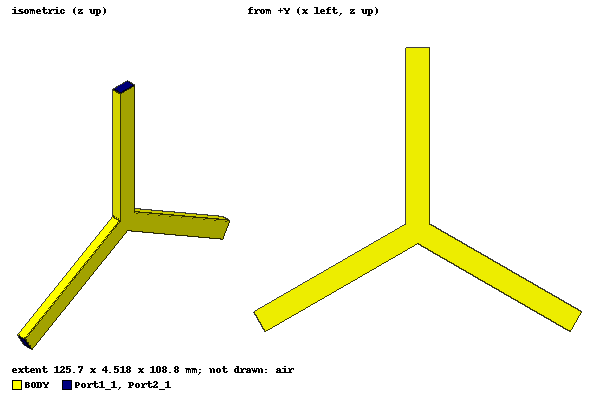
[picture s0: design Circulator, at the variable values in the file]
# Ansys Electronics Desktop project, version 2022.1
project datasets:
  $Electrical_conductivity_with_temperature_239: units cel, : (-270.1, 100.326) (-253.3, 64.1874) (-236.5, 20.6133) (-219.6, 8.73735) (-200.1, 5.28485) (-130.1, 2.21031) (-60.15, 1.41217) (9.85, 1.0384) (79.85, 0.817151) (149.9, 0.668618) (219.9, 0.565176) (289.9, 0.487594) (359.9, 0.427032) (429.9, 0.378184) (499.9, 0.338177) (569.9, 0.304581) (639.9, 0.276068) (709.9, 0.251312) (779.9, 0.229872) (849.9, 0.21093) (919.9, 0.194198) (989.9, 0.179278) (1060, 0.165884)
  $Thermal_conductivity_with_temperature_239: units cel, : (-270.1, 5.10075) (-260.1, 8.94205) (-224.3, 1.38035) (-178.4, 1.03148) (-132.6, 1.02519) (-86.7, 1.01858) (-40.84, 1.01102) (5.022, 1.00315) (50.88, 0.994646) (96.75, 0.98583) (142.6, 0.976699) (188.5, 0.967253) (234.3, 0.957493) (280.2, 0.947732) (326.1, 0.937971) (371.9, 0.927896) (417.8, 0.91782) (463.6, 0.907745) (509.5, 0.897669) (555.4, 0.887593) (601.2, 0.877518) (647.1, 0.867127) (693, 0.857052) (738.8, 0.846661) (784.7, 0.836271) (830.5, 0.825566) (876.4, 0.81486) (922.3, 0.80384) (968.1, 0.792505) (1014, 0.780855) (1060, 0.768891)
  $Specific_heat_capacity_with_temperature_239: units cel, : (19.85, 0.999784) (135.4, 1.01141) (251, 1.03311) (366.5, 1.05791) (482.1, 1.08504) (597.6, 1.11216) (713.2, 1.14084) (828.7, 1.16874) (944.3, 1.19742) (1060, 1.22609)
  $Tensile_modulus_with_temperature_239: units cel, : (-270.1, 1.08) (-129, 1.03922) (12.07, 1.00188) (153.2, 0.975219) (294.3, 0.938928) (435.4, 0.891949) (576.5, 0.834544) (717.6, 0.766583) (858.7, 0.688064) (999.9, 0.598856)
  $Thermal_expansion_coefficient_with_temperature_239: units cel, : (-270.1, 0.80543) (-198.7, 0.932603) (-127.3, 0.970683) (-55.86, 0.985053) (15.56, 0.998704) (86.99, 1.01307) (158.4, 1.02744) (229.9, 1.04181) (301.3, 1.05547) (372.7, 1.06984) (444.1, 1.08421) (515.6, 1.09857) (587, 1.11223) (658.4, 1.1266) (729.9, 1.14097)
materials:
  vacuum: permittivity=1
  pec: conductivity=1e+30
  ferrite: permittivity=12.9 permeability{HUnit=A_per_meter BUnit=tesla curve } conductivity=0.01 saturation_mag=0.35tesla delta_H=4 delta_H_freq=22.5GHz
  Rogers RO3006 (tm): permittivity=6.15 dielectric_loss_tangent=0.0025
  rubber_hard: permittivity=3 conductivity=1e-15
  Rogers RO4003 (tm): permittivity=3.55 dielectric_loss_tangent=0.0027
  Rogers RT/duroid 5880 (tm): permittivity=2.2 dielectric_loss_tangent=0.0009
  TDK_PC95_60cel_BH: core_loss_curve{50kHz (0, 0) (0.049862966, 4.1005345) (0.060258577, 6.8639779) (0.069693025, 9.604843) (0.079288168, 12.85137) (0.089957123, 17.195253) (0.10011968, 22.497801) (0.13429265, 48.181396) (0.19992957, 126.23138) (0.24094943, 202.0447) (0.30010796, 361.71437)} core_loss_curve{100kHz (0, 0) (0.05, 11.750028) (0.059928731, 18.390411) (0.069311536, 26.316823) (0.079506068, 36.825433) (0.090204344, 49.272773) (0.10039483, 64.467157) (0.12000091, 98.665069) (0.15876613, 193.19337) (0.19938163, 330.71604) (0.23897376, 506.15107) (0.29928546, 906.14655)} core_loss_curve{200kHz (0, 0) (0.05, 31.481432) (0.060258577, 50.388871) (0.069693025, 68.947957) (0.079724568, 96.479667) (0.089957123, 129.0907) (0.10067074, 172.72456) (0.13765098, 386.85538) (0.20047902, 947.6625) (0.2490168, 1586.3138) (0.29928546, 2482.7994)} core_loss_curve{300kHz (0, 0) (0.049862966, 63.039229) (0.060093428, 100.89997) (0.069502019, 144.38866) (0.079724568, 197.56947) (0.08971058, 264.3498) (0.10039483, 345.8681) (0.12712013, 605.4819) (0.15446813, 991.08054) (0.19883519, 1897.6238) (0.23963051, 2904.2568) (0.30093272, 4861.5015)} permeability{HUnit=A_per_meter BUnit=tesla curve (0, 0) (17.20430108, 0.079976243) (32.49701314, 0.199539595) (49.70131422, 0.297790055) (64.09402628, 0.349834622) (76.46356033, 0.383911602) (89.84468339, 0.412285451) (107.0489845, 0.436556169) (135.7228196, 0.45174954) (168.2198327, 0.462891344) (202.6284349, 0.471007366) (250.4181601, 0.478084715) (298.2078853, 0.481123389) (498.9247312, 0.486187845) (1282.676225, 0.491252302) (2560, 0.4934)} conductivity=0.167 saturation_mag=0.48tesla core_loss_type="Power Ferrite" core_loss_cm=0.59673882 core_loss_x=1.4941961 core_loss_y=2.4413048 mass_density=4900
  Gold, pure: thermal_modifier{Property=conductivity free_form_value=pwl($Electrical_conductivity_with_temperature_239,Temp)} conductivity=45242600

design Circulator (HFSS, DrivenModal, model units mm)
options: Save_Adaptive_support_files
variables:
  a = 8.636mm
  b = 4.318mm
  t = 0.2mm
  h = 7cm
  r0 = 1.3mm
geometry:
  BODY [Gold, pure] = box(corner=(-a/2-t/2, -b/2-t/2, 0mm), size=(a+t, b+t, h))
  Box4 = box(corner=(-a/2, -b/2, 0mm), size=(a, b, h))
  Box4_1 = Box4.copy()
  BODY.subtract(Box4_1)
  BODY.rotate(axis=Y, angle=240deg)
  Port2 = box(corner=(-a/2-t/2, -b/2-t/2, 0mm), size=(a+t, b+t, h))
  Box4_2 = Box4.copy()
  Port2.subtract(Box4_2)
  Port2.rotate(axis=Y, angle=120deg)
  Port1 = box(corner=(-a/2-t/2, -b/2-t/2, 0mm), size=(a+t, b+t, h))
  Port1.subtract(Box4)
  BODY.unite(Port2, Port1)
  air [vacuum] = box(corner=(-a/2, -b/2, 0mm), size=(a, b, h))
  Box6 = box(corner=(-a/2, -b/2, 0mm), size=(a, b, h))
  Box6.rotate(axis=Y, angle=240deg)
  Box7 = box(corner=(-a/2, -b/2, 0mm), size=(a, b, h))
  Box7.rotate(axis=Y, angle=120deg)
  air.unite(Box6, Box7)
  air_1 = air.copy()
  BODY.subtract(air_1)
  FERRITE [ferrite] = cylinder(axis=Y, base_centre=(0mm, -b/2, 0mm), radius=1.3mm, height=4.318mm)
  Cylinder1_1 = FERRITE.copy()
  air.subtract(Cylinder1_1)
  Port1_1 = rectangle(corner=(-a/2, -b/2, h), x_size=a, y_size=b)
  Port2_1 = rectangle(corner=(-a/2, -b/2, h), x_size=a, y_size=b)
  Port2_1.rotate(axis=Y, angle=120deg)
  Port3_1 = rectangle(corner=(-a/2, -b/2, h), x_size=a, y_size=b)
  Port3_1.rotate(axis=Y, angle=240deg)
  coordinate_system RelativeCS1 = origin=(0mm, 0mm, 0mm) x=(1mm, 0mm, 0mm) y=(0mm, 1mm, 0mm)
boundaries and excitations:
  MagBias1: Magnetic Bias Objects=FERRITE IsUniformBias Bias=2110 XAngle=90deg YAngle=0deg ZAngle=0deg PathRelativeTo=TargetProject MKSBias=2110
  1: Wave Port Objects=Port1_1 NumModes=1 Modes{Mode1{CharImp=Zpi}}
  2: Wave Port Objects=Port2_1 NumModes=1 Modes{Mode1{CharImp=Zpi}}
  3: Wave Port Objects=Port3_1 NumModes=1 Modes{Mode1{CharImp=Zpi}}
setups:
  Setup1: HfssDriven Frequency=24GHz MaxDeltaS=0.02 MaximumPasses=6 MinimumPasses=1 MinimumConvergedPasses=1 PercentRefinement=30 BasisOrder=1 PortAccuracy=2 DrivenSolverType="Direct Solver"
    sweep Sweep: 23GHz to 37GHz, 300 points; Type=Interpolating InterpTolerance=0.5 InterpMaxSolns=250 InterpUsePortImped=false PassivityErrorTolerance=0.0001
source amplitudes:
  1:1: 1W 0deg
  2:1, 3:1: 0W 0deg
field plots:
  Mag_E1: E Field in air, FERRITE on Setup1 : LastAdaptive at Freq=24GHz Phase=0deg
  Mag_H2: H Field in air on Setup1 : LastAdaptive at Freq=24GHz Phase=170deg
  Vector_E1: E Field in air on Setup1 : LastAdaptive at Freq=24GHz Phase=0deg
  Vector_H1: H Field in air on Setup1 : LastAdaptive at Freq=24GHz Phase=180deg
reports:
  S_11,S_21,S_31: dB(S(1,1)), dB(S(2,1)), dB(S(3,1)) vs Freq on Setup1 : Sweep
  S_12,S_22,S_32: dB(S(1,2)), dB(S(2,2)), dB(S(3,2)) vs Freq on Setup1 : Sweep
  S13,S23.S33: dB(S(1,3)), dB(S(2,3)), dB(S(3,3)) vs Freq on Setup1 : Sweep
  LOSS: dB(  1- mag( S(1,1))^2 -  mag(S(3,1))^2  - mag(S(2,1))^2 ) vs Freq on Setup1 : Sweep
  Isolation: dB(S(2,1)/S(3,1)) vs Freq on Setup1 : Sweep; markers m1 at 25.949833GHz
  VSWR: VSWR(1), VSWR(2), VSWR(3) vs Freq on Setup1 : Sweep
